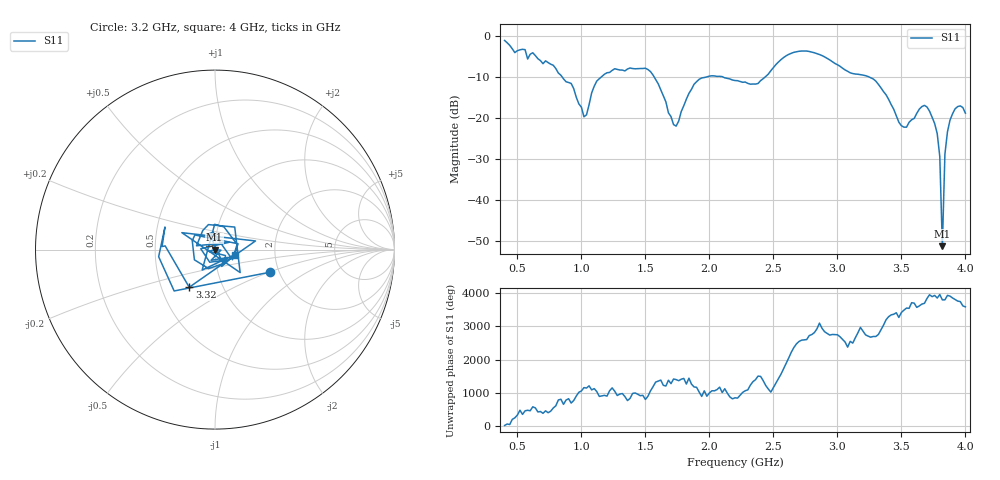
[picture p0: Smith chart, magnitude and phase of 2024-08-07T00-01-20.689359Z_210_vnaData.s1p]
!Created with skrf (http://scikit-rf.org).
# Hz S RI R 50.0
!freq ReS11 ImS11
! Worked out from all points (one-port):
!   181 points, 400 MHz to 4 GHz, reference 50 ohm
!   lowest |S11| = -51.4 dB at 3.82 GHz (marker M1), VSWR 1.01, Z = 49.7 - j0.0683 ohm
!   |S11| at or under -10 dB: 1.567 GHz to 1.989 GHz (422.4 MHz wide, 23.8 % of centre); 2.095 GHz to 2.44 GHz (344.7 MHz wide, 15.2 % of centre); 3.24 GHz to end of sweep (the widest 3 of 4)
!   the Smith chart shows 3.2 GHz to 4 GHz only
!   S11 on the Smith chart (normalised r, x): 3.2 GHz: 1.78, -0.51; 3.32 GHz: 0.69, -0.31; 4 GHz: 1.24, -0.07
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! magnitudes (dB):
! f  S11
! 400 MHz  -1.2
! 780 MHz  -7.2
! 860 MHz  -10.6
! 920 MHz  -11.7
! 1.02 GHz  -19.8
! 1.12 GHz  -11.1
! 1.3 GHz  -8.4
! 1.54 GHz  -8.8
! 1.72 GHz  -21.7
! 1.76 GHz  -20.9
! 1.92 GHz  -10.7
! 2.2 GHz  -11.0
! 2.38 GHz  -11.7
! 2.66 GHz  -4.1
! 2.86 GHz  -4.6
! 3.1 GHz  -9.1
! 3.2 GHz  -9.6
! 3.32 GHz  -11.9
! 3.5 GHz  -22.0
! 3.56 GHz  -21.2
! 3.68 GHz  -17.0
! 3.76 GHz  -21.5
! 3.8 GHz  -29.5
! 3.82 GHz  -51.4
! 3.84 GHz  -28.9
! 3.86 GHz  -23.5
! 3.92 GHz  -17.9
! 4 GHz  -18.9
